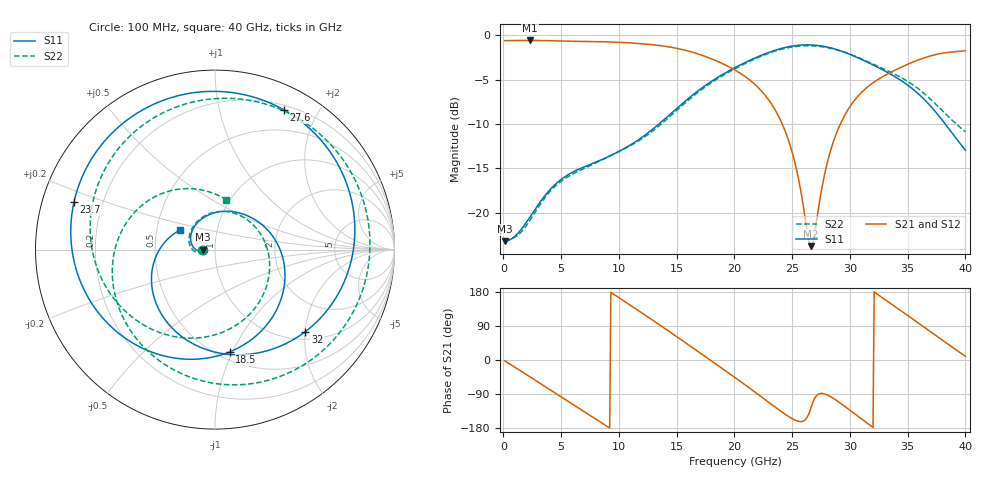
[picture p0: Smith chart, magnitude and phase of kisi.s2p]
! B_ts6_L1L3_stub: ThunderScope stack: L1→In2, through via (stub to B.Cu)
! stackup: ThunderScope Rev5.3 6-layer (FR408HR / FR-4, from the board file)
! ports: 1, 2
! kisi-fdtd, conformal, dfine 0.0175 mm (the cell at metal ÷ 2), 1110795 cells
# Hz S RI R 50
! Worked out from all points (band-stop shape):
!   400 points, 100 MHz to 40 GHz, reference 50 ohm
!   highest |S21| = -0.59 dB at 2.3 GHz (marker M1); lowest = -23.8 dB at 26.6 GHz (marker M2)
!   |S21| within 3 dB of the highest: start of sweep to 19.58 GHz; 34.47 GHz to end of sweep
!   lowest |S11| = -23.2 dB at 100 MHz (marker M3), VSWR 1.15, Z = 43.6 - j0.0585 ohm
!   |S11| at or under -10 dB: start of sweep to 13.48 GHz; 38.25 GHz to end of sweep
!   |S22| runs from -23.1 to -1.2 dB; largest |S21 - S12| = 0.0028
!   S11 on the Smith chart (normalised r, x): 100 MHz: 0.87, -0.00; 18.5 GHz: 0.57, -0.98; 23.7 GHz: 0.10, +0.16; 27.6 GHz: 0.25, +1.58; 32 GHz: 1.18, -2.01; 40 GHz: 0.66, +0.15
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1e8  -0.0688 -0.000668  0.9314 -0.0313  0.93 -0.0311  -0.0701 -0.000669
2.3e9  -0.0943 -0.00666  0.6658 -0.655  0.6671 -0.6548  -0.0892 -0.016
4.5e9  -0.1352 0.0511  0.0416 -0.9278  0.0406 -0.9282  -0.1395 0.0232
6.8e9  -0.0986 0.1491  -0.6188 -0.6839  -0.6181 -0.6835  -0.1256 0.1218
8.4e9  -0.0319 0.1949  -0.8818 -0.2591  -0.8819 -0.2598  -0.0594 0.1871
9.9e9  0.0509 0.2135  -0.887 0.2138  -0.8875 0.214  0.0535 0.2125
1.18e10  0.1777 0.1901  -0.5529 0.7062  -0.5525 0.7063  0.2208 0.1298
1.34e10  0.2937 0.1087  -0.0787 0.8727  -0.0788 0.8724  0.3018 -0.0473
1.62e10  0.3769 -0.2459  0.6521 0.4762  0.6524 0.4764  0.1085 -0.427
1.85e10  0.0824 -0.5697  0.696 -0.1591  0.6958 -0.1593  -0.3514 -0.4441
2.01e10  -0.2946 -0.5898  0.4289 -0.4659  0.4288 -0.4656  -0.6256 -0.1746
2.2e10  -0.7044 -0.271  0.00299 -0.5114  0.00322 -0.5116  -0.6523 0.3617
2.37e10  -0.7853 0.2667  -0.2242 -0.2836  -0.2245 -0.2836  -0.2444 0.783
2.51e10  -0.5233 0.6953  -0.1901 -0.0826  -0.1901 -0.0823  0.3152 0.7999
2.66e10  0.0123 0.8815  -0.0403 -0.0506  -0.04 -0.0507  0.7896 0.3688
2.67e10  0.0512 0.8795  -0.0321 -0.0565  -0.0318 -0.0567  0.8069 0.3279
2.76e10  0.3825 0.7792  0.00435 -0.1404  0.00425 -0.1408  0.8584 -0.0615
2.97e10  0.7775 0.1607  -0.2147 -0.2989  -0.2147 -0.2984  0.3654 -0.7056
3.2e10  0.5041 -0.4565  -0.5387 -0.0185  -0.5386 -0.0191  -0.3318 -0.6024
3.34e10  0.172 -0.5845  -0.5374 0.2912  -0.5382 0.2912  -0.5382 -0.3166
3.68e10  -0.3506 -0.2136  0.1493 0.7436  0.1496 0.7422  -0.3367 0.2937
4e10  -0.197 0.1083  0.8041 0.1395  0.8062 0.1413  0.062 0.279
